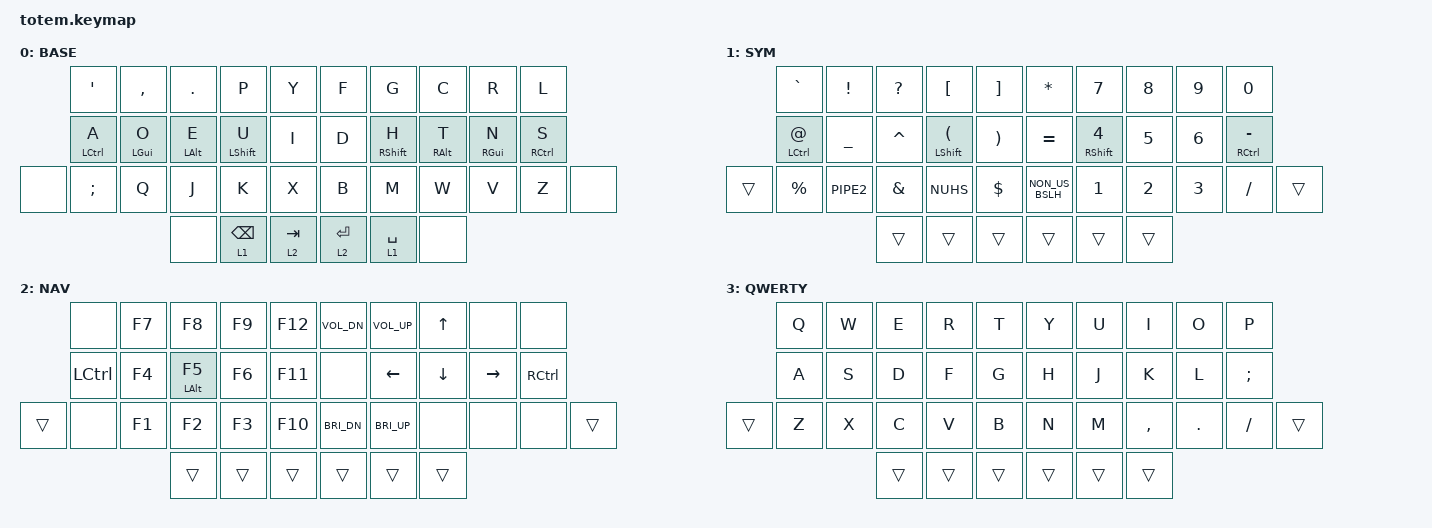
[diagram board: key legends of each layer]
#include <behaviors.dtsi>
#include <dt-bindings/zmk/keys.h>

#define BASE    0
#define SYM     1
#define NAV     2
#define QWERTY  3

&lt { hold-trigger-on-release; };

/ {
    combos {
        compatible = "zmk,combos";

        Escape {
            key-positions = <0 1>;
            bindings = <&kp ESC>;
            layers = <0>;
        };

        Delete {
            bindings = <&kp DEL>;
            key-positions = <9 8>;
            layers = <0>;
        };

        QWERTY {
            bindings = <&tog 3>;
            key-positions = <33 36>;
        };
    };

    behaviors {
        hml: hml {
            compatible = "zmk,behavior-hold-tap";
            label = "HML";
            bindings = <&kp>, <&kp>;

            #binding-cells = <2>;
            quick-tap-ms = <175>;
            flavor = "balanced";
            tapping-term-ms = <280>;
            hold-trigger-on-release;
            hold-trigger-key-positions = <5 6 7 8 9 5 6 8 9 15 16 17 18 19 26 27 28 29 30 31 36 37 5 6 7 8 9 15 16 17 18 19 26 27 28 29 30 31 35 36 37 32 33 34>;
            require-prior-idle-ms = <150>;
        };

        hmr: hmr {
            compatible = "zmk,behavior-hold-tap";
            label = "HMR";
            bindings = <&kp>, <&kp>;

            #binding-cells = <2>;
            quick-tap-ms = <175>;
            flavor = "balanced";
            tapping-term-ms = <280>;
            hold-trigger-on-release;
            hold-trigger-key-positions = <0 1 2 3 4 10 11 12 13 14 20 21 22 23 24 25 32 33 34 37 36 35>;
            require-prior-idle-ms = <150>;
        };

        hml_shift: hml_shift {
            compatible = "zmk,behavior-hold-tap";
            label = "HML_SHIFT";
            bindings = <&kp>, <&kp>;

            #binding-cells = <2>;
            quick-tap-ms = <175>;
            flavor = "balanced";
            tapping-term-ms = <175>;
            hold-trigger-key-positions = <5 6 7 8 9 5 6 8 9 15 16 17 18 19 26 27 28 29 30 31 36 37 5 6 7 8 9 15 16 17 18 19 26 27 28 29 30 31 35 36 37 32 33 34>;
            require-prior-idle-ms = <150>;
        };

        hmr_shift: hmr_shift {
            compatible = "zmk,behavior-hold-tap";
            label = "HMR_SHIFT";
            bindings = <&kp>, <&kp>;

            #binding-cells = <2>;
            quick-tap-ms = <175>;
            flavor = "balanced";
            tapping-term-ms = <175>;
            hold-trigger-key-positions = <0 1 2 3 4 10 11 12 13 14 20 21 22 23 24 25 32 33 34 37 36 35>;
            require-prior-idle-ms = <150>;
        };
    };

    keymap {
        compatible = "zmk,keymap";

        // ▄▄▄▄▄▄▄▄▄▄▄▄▄▄▄▄▄▄▄▄▄▄▄▄▄▄▄▄▄▄▄▄▄▄▄▄▄▄▄▄▄▄▄▄▄▄▄▄▄▄▄▄▄▄▄▄▄▄▄▄▄▄▄▄▄▄▄▄▄▄▄▄▄▄▄▄▄▄▄▄▄▄▄▄▄▄▄▄▄▄▄▄▄▄▄▄▄▄▄▄▄▄▄▄▄▄▄▄▄▄▄▄▄▄▄▄▄▄▄▄▄▄▄▄▄▄▄▄▄▄▄▄▄▄▄▄▄▄▄▄▄▄▄▄▄▄▄▄▄

        base_layer {
            // ┏━━━━━━━━━━━━━━━━━━━━━━━━━━━━━━━━━━━━━━━┓

            label = "BASE";

            // ┗━━━━━━━━━━━━━━━━━━━━━━━━━━━━━━━━━━━━━━━┛
            //             ┏━━━━━━━━━━━┳━━━━━━━━━━━┳━━━━━━━━━━━┳━━━━━━━━━━━┳━━━━━━━━━━━┓   ┏━━━━━━━━━━━┳━━━━━━━━━━━┳━━━━━━━━━━━┳━━━━━━━━━━━┳━━━━━━━━━━━┓
            //             ┃     '   [ ⎋ ]   ,     ┃     .     ┃     P     ┃     Y     ┃   ┃     F     ┃     G     ┃     C     ┃     R   [ ⌦ ]   L     ┃
            //             ┣━━━━━━━━━━━╋━━━━━━━━━━━╋━━━━━━━━━━━╋━━━━━━━━━━━╋━━━━━━━━━━━┫   ┣━━━━━━━━━━━╋━━━━━━━━━━━╋━━━━━━━━━━━╋━━━━━━━━━━━╋━━━━━━━━━━━┫
            //             ┃     A     ┃     O     ┃     E     ┃     U     ┃     I     ┃   ┃     D     ┃     H     ┃     T     ┃     N     ┃     S     ┃
            //             ┃    [^]    ┃    [❖]    ┃    [⎇]    ┃    [⇧]    ┃           ┃   ┃           ┃    [⇧]    ┃    [⎇]    ┃    [❖]    ┃    [^]    ┃
            //             ┣━━━━━━━━━━━╋━━━━━━━━━━━╋━━━━━━━━━━━╋━━━━━━━━━━━╋━━━━━━━━━━━┫   ┣━━━━━━━━━━━╋━━━━━━━━━━━╋━━━━━━━━━━━╋━━━━━━━━━━━╋━━━━━━━━━━━┫
            //             ┃     ;     ┃     Q     ┃     J     ┃     K     ┃     X     ┃   ┃     B     ┃     M     ┃     W     ┃     V     ┃     Z     ┃
            //             ┗━━━━━━━━━━━┻━━━━━━━━━━━╋━━━━━━━━━━━╋━━━━━━━━━━━╋━━━━━━━━━━━┫   ┣━━━━━━━━━━━╋━━━━━━━━━━━╋━━━━━━━━━━━╋━━━━━━━━━━━┻━━━━━━━━━━━┛
            //                                     ┃           ┃     ⌫     ┃     ⇥     ┃   ┃     ⮐     ┃     ␣     ┃           ┃
            //                                     ┗━━━━━━━━━━━┻━━━━━━━━━━━┻━━━━━━━━━━━┛   ┗━━━━━━━━━━━┻━━━━━━━━━━━┻━━━━━━━━━━━┛

            bindings = <
       &kp APOS      &kp COMMA    &kp PERIOD   &kp P               &kp Y        &kp F      &kp G               &kp C        &kp R        &kp L
       &hml LCTRL A  &hml LGUI O  &hml LALT E  &hml_shift LSHFT U  &kp I        &kp D      &hmr_shift RSHFT H  &hmr RALT T  &hmr RGUI N  &hmr RCTRL S
&none  &kp SEMI      &kp Q        &kp J        &kp K               &kp X        &kp B      &kp M               &kp W        &kp V        &kp Z         &none
                                  &none        &lt 1 BSPC          &lt 2 TAB    &lt 2 RET  &lt 1 SPACE         &none
            >;
        };

        // ▄▄▄▄▄▄▄▄▄▄▄▄▄▄▄▄▄▄▄▄▄▄▄▄▄▄▄▄▄▄▄▄▄▄▄▄▄▄▄▄▄▄▄▄▄▄▄▄▄▄▄▄▄▄▄▄▄▄▄▄▄▄▄▄▄▄▄▄▄▄▄▄▄▄▄▄▄▄▄▄▄▄▄▄▄▄▄▄▄▄▄▄▄▄▄▄▄▄▄▄▄▄▄▄▄▄▄▄▄▄▄▄▄▄▄▄▄▄▄▄▄▄▄▄▄▄▄▄▄▄▄▄▄▄▄▄▄▄▄▄▄▄▄▄▄▄▄▄▄

        sym_layer {
            // ┏━━━━━━━━━━━━━━━━━━━━━━━━━━━━━━━━━━━━━━━┓

            label = "SYM";

            // ┗━━━━━━━━━━━━━━━━━━━━━━━━━━━━━━━━━━━━━━━┛
            //             ┏━━━━━━━━━━━┳━━━━━━━━━━━┳━━━━━━━━━━━┳━━━━━━━━━━━┳━━━━━━━━━━━┓   ┏━━━━━━━━━━━┳━━━━━━━━━━━┳━━━━━━━━━━━┳━━━━━━━━━━━┳━━━━━━━━━━━┓
            //             ┃     `     ┃     !     ┃     ?     ┃     [     ┃     ]     ┃   ┃     *     ┃     7     ┃     8     ┃     9     ┃     0     ┃
            //             ┣━━━━━━━━━━━╋━━━━━━━━━━━╋━━━━━━━━━━━╋━━━━━━━━━━━╋━━━━━━━━━━━┫   ┣━━━━━━━━━━━╋━━━━━━━━━━━╋━━━━━━━━━━━╋━━━━━━━━━━━╋━━━━━━━━━━━┫
            //             ┃     "     ┃     _     ┃     ^     ┃     (     ┃     )     ┃   ┃     =     ┃     4     ┃     5     ┃     6     ┃     -     ┃
            //             ┣━━━━━━━━━━━╋━━━━━━━━━━━╋━━━━━━━━━━━╋━━━━━━━━━━━╋━━━━━━━━━━━┫   ┣━━━━━━━━━━━╋━━━━━━━━━━━╋━━━━━━━━━━━╋━━━━━━━━━━━╋━━━━━━━━━━━┫
            //             ┃     %     ┃     |     ┃     &     ┃     #     ┃     $     ┃   ┃     \     ┃     1     ┃     2     ┃     3     ┃     /     ┃
            //             ┗━━━━━━━━━━━┻━━━━━━━━━━━╋━━━━━━━━━━━╋━━━━━━━━━━━╋━━━━━━━━━━━┫   ┣━━━━━━━━━━━╋━━━━━━━━━━━╋━━━━━━━━━━━╋━━━━━━━━━━━┻━━━━━━━━━━━┛
            //                                     ┃           ┃           ┃           ┃   ┃           ┃           ┃           ┃
            //                                     ┗━━━━━━━━━━━┻━━━━━━━━━━━┻━━━━━━━━━━━┛   ┗━━━━━━━━━━━┻━━━━━━━━━━━┻━━━━━━━━━━━┛

            bindings = <
        &kp GRAVE      &kp EXCL   &kp QMARK  &kp LBKT                &kp RBKT    &kp ASTRK        &kp N7                &kp N8  &kp N9  &kp N0
        &hml LCTRL AT  &kp UNDER  &kp CARET  &hml_shift LSHIFT LPAR  &kp RPAR    &kp EQUAL        &hmr_shift RSHIFT N4  &kp N5  &kp N6  &hmr RCTRL MINUS
&trans  &kp PRCNT      &kp PIPE2  &kp AMPS   &kp NUHS                &kp DLLR    &kp NON_US_BSLH  &kp N1                &kp N2  &kp N3  &kp FSLH          &trans
                                  &trans     &trans                  &trans      &trans           &trans                &trans
            >;
        };

        // ▄▄▄▄▄▄▄▄▄▄▄▄▄▄▄▄▄▄▄▄▄▄▄▄▄▄▄▄▄▄▄▄▄▄▄▄▄▄▄▄▄▄▄▄▄▄▄▄▄▄▄▄▄▄▄▄▄▄▄▄▄▄▄▄▄▄▄▄▄▄▄▄▄▄▄▄▄▄▄▄▄▄▄▄▄▄▄▄▄▄▄▄▄▄▄▄▄▄▄▄▄▄▄▄▄▄▄▄▄▄▄▄▄▄▄▄▄▄▄▄▄▄▄▄▄▄▄▄▄▄▄▄▄▄▄▄▄▄▄▄▄▄▄▄▄▄▄▄▄

        nav_layer {
            // ┏━━━━━━━━━━━━━━━━━━━━━━━━━━━━━━━━━━━━━━━┓

            label = "NAV";

            // ┗━━━━━━━━━━━━━━━━━━━━━━━━━━━━━━━━━━━━━━━┛
            //             ┏━━━━━━━━━━━┳━━━━━━━━━━━┳━━━━━━━━━━━┳━━━━━━━━━━━┳━━━━━━━━━━━┓   ┏━━━━━━━━━━━┳━━━━━━━━━━━┳━━━━━━━━━━━┳━━━━━━━━━━━┳━━━━━━━━━━━┓
            //             ┃           ┃     F7    ┃    F8     ┃    F9     ┃    F12    ┃   ┃   BRI-    ┃   BRI+    ┃     ↑     ┃           ┃           ┃
            //             ┣━━━━━━━━━━━╋━━━━━━━━━━━╋━━━━━━━━━━━╋━━━━━━━━━━━╋━━━━━━━━━━━┫   ┣━━━━━━━━━━━╋━━━━━━━━━━━╋━━━━━━━━━━━╋━━━━━━━━━━━╋━━━━━━━━━━━┫
            //             ┃           ┃     F4    ┃    F5     ┃    F6     ┃    F11    ┃   ┃           ┃     ←     ┃     ↓     ┃     →     ┃           ┃
            //             ┣━━━━━━━━━━━╋━━━━━━━━━━━╋━━━━━━━━━━━╋━━━━━━━━━━━╋━━━━━━━━━━━┫   ┣━━━━━━━━━━━╋━━━━━━━━━━━╋━━━━━━━━━━━╋━━━━━━━━━━━╋━━━━━━━━━━━┫
            //             ┃           ┃     F1    ┃    F2     ┃    F3     ┃    F10    ┃   ┃   VOL-    ┃   VOL+    ┃           ┃           ┃           ┃           
            //             ┗━━━━━━━━━━━┻━━━━━━━━━━━╋━━━━━━━━━━━╋━━━━━━━━━━━╋━━━━━━━━━━━┫   ┣━━━━━━━━━━━╋━━━━━━━━━━━╋━━━━━━━━━━━╋━━━━━━━━━━━┻━━━━━━━━━━━┛
            //                                     ┃           ┃           ┃           ┃   ┃           ┃           ┃           ┃
            //                                     ┗━━━━━━━━━━━┻━━━━━━━━━━━┻━━━━━━━━━━━┛   ┗━━━━━━━━━━━┻━━━━━━━━━━━┻━━━━━━━━━━━┛

            bindings = <
        &none      &kp F7  &kp F8        &kp F9  &kp F12    &kp C_VOL_DN  &kp C_VOL_UP  &kp UP    &none      &none
        &kp LCTRL  &kp F4  &hml LALT F5  &kp F6  &kp F11    &none         &kp LEFT      &kp DOWN  &kp RIGHT  &kp RCTRL
&trans  &none      &kp F1  &kp F2        &kp F3  &kp F10    &kp C_BRI_DN  &kp C_BRI_UP  &none     &none      &none      &trans
                           &trans        &trans  &trans     &trans        &trans        &trans
            >;
        };

        // ▄▄▄▄▄▄▄▄▄▄▄▄▄▄▄▄▄▄▄▄▄▄▄▄▄▄▄▄▄▄▄▄▄▄▄▄▄▄▄▄▄▄▄▄▄▄▄▄▄▄▄▄▄▄▄▄▄▄▄▄▄▄▄▄▄▄▄▄▄▄▄▄▄▄▄▄▄▄▄▄▄▄▄▄▄▄▄▄▄▄▄▄▄▄▄▄▄▄▄▄▄▄▄▄▄▄▄▄▄▄▄▄▄▄▄▄▄▄▄▄▄▄▄▄▄▄▄▄▄▄▄▄▄▄▄▄▄▄▄▄▄▄▄▄▄▄▄▄▄

        QWERTY {
            // ┏━━━━━━━━━━━━━━━━━━━━━━━━━━━━━━━━━━━━━━━┓

            label = "QWERTY";

            // ┗━━━━━━━━━━━━━━━━━━━━━━━━━━━━━━━━━━━━━━━┛
            //             ┏━━━━━━━━━━━┳━━━━━━━━━━━┳━━━━━━━━━━━┳━━━━━━━━━━━┳━━━━━━━━━━━┓   ┏━━━━━━━━━━━┳━━━━━━━━━━━┳━━━━━━━━━━━┳━━━━━━━━━━━┳━━━━━━━━━━━┓
            //             ┃     Q     ┃     W     ┃     E     ┃     R     ┃     T     ┃   ┃     Y     ┃     U     ┃     I     ┃     O     ┃     P     ┃
            //             ┣━━━━━━━━━━━╋━━━━━━━━━━━╋━━━━━━━━━━━╋━━━━━━━━━━━╋━━━━━━━━━━━┫   ┣━━━━━━━━━━━╋━━━━━━━━━━━╋━━━━━━━━━━━╋━━━━━━━━━━━╋━━━━━━━━━━━┫
            //             ┃     A     ┃     S     ┃     D     ┃     F     ┃     G     ┃   ┃     H     ┃     J     ┃     K     ┃     L     ┃     ;     ┃
            //             ┣━━━━━━━━━━━╋━━━━━━━━━━━╋━━━━━━━━━━━╋━━━━━━━━━━━╋━━━━━━━━━━━┫   ┣━━━━━━━━━━━╋━━━━━━━━━━━╋━━━━━━━━━━━╋━━━━━━━━━━━╋━━━━━━━━━━━┫
            //             ┃     Z     ┃     X     ┃     C     ┃     V     ┃     B     ┃   ┃     N     ┃     M     ┃     ,     ┃     .     ┃     /     ┃
            //             ┗━━━━━━━━━━━┻━━━━━━━━━━━╋━━━━━━━━━━━╋━━━━━━━━━━━╋━━━━━━━━━━━┫   ┣━━━━━━━━━━━╋━━━━━━━━━━━╋━━━━━━━━━━━╋━━━━━━━━━━━┻━━━━━━━━━━━┛
            //                                     ┃           ┃           ┃           ┃   ┃           ┃           ┃           ┃
            //                                     ┗━━━━━━━━━━━┻━━━━━━━━━━━┻━━━━━━━━━━━┛   ┗━━━━━━━━━━━┻━━━━━━━━━━━┻━━━━━━━━━━━┛

            bindings = <
        &kp Q  &kp W  &kp E   &kp R   &kp T     &kp Y   &kp U   &kp I      &kp O    &kp P
        &kp A  &kp S  &kp D   &kp F   &kp G     &kp H   &kp J   &kp K      &kp L    &kp SEMI
&trans  &kp Z  &kp X  &kp C   &kp V   &kp B     &kp N   &kp M   &kp COMMA  &kp DOT  &kp FSLH  &trans
                      &trans  &trans  &trans    &trans  &trans  &trans
            >;
        };
    };
};
